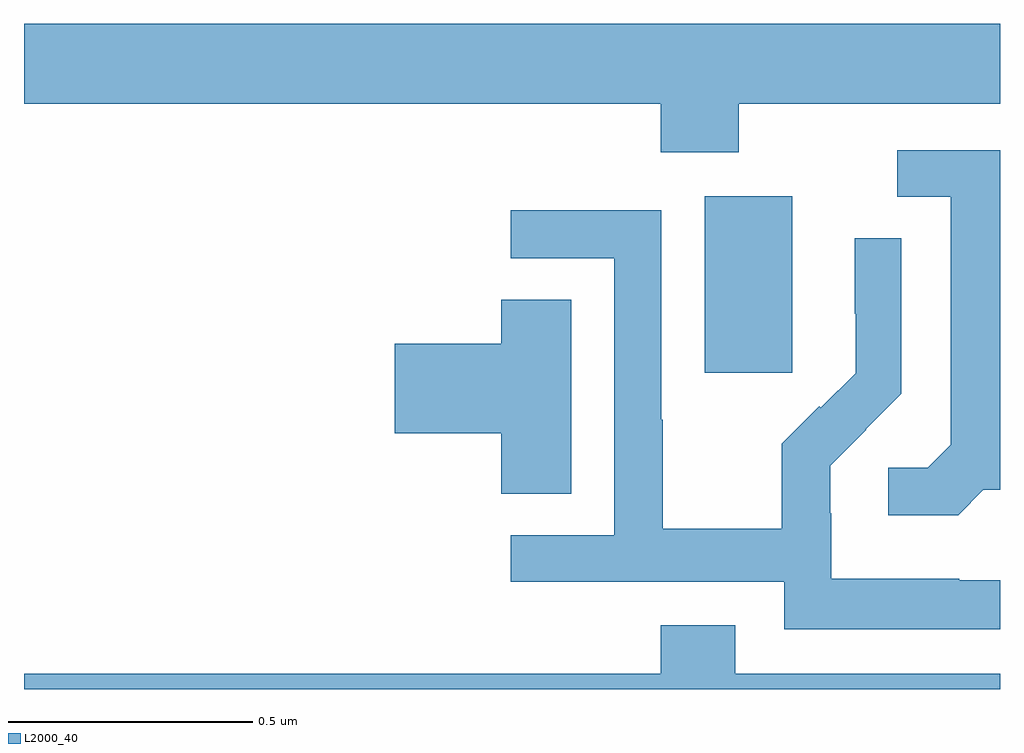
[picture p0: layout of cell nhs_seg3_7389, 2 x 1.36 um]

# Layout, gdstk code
import gdstk
lib = gdstk.Library(unit=1e-6, precision=1e-09)
def R(c, l, rs):  # rectangles x0, y0, x1, y1
    for r in rs: c.add(gdstk.rectangle(r[:2], r[2:], *l))
def P(c, l, *ps):  # polygons
    for p in ps: c.add(gdstk.Polygon(p, *l))
L2000_40 = (2000, 40)

nhs_seg3_7389 = lib.new_cell('nhs_seg3_7389')
R(nhs_seg3_7389, L2000_40, [(204.395,683.049,204.574,683.41)])
P(nhs_seg3_7389, L2000_40, [(204.465,683.6),(205,683.6),(205,683.764),(203,683.764),(203,683.6),(204.305,683.6),(204.305,683.501),(204.465,683.501)],
  [(204.966,682.809),(205,682.809),(205,683.505),(204.789,683.505),(204.789,683.409),(204.899,683.409),(204.899,682.901),(204.852,682.854),(204.771,682.854),(204.771,682.757),(204.914,682.757)],
  [(205,682.623),(204.917,682.623),(204.917,682.627),(204.654,682.627),(204.654,682.761),(204.652,682.761),(204.652,682.858),(204.726,682.932),(204.725,682.933),(204.798,683.006),(204.798,683.324),(204.702,683.324),(204.702,683.17),(204.704,683.17),(204.704,683.048),(204.633,682.977),(204.63,682.98),(204.553,682.903),(204.553,682.729),(204.309,682.729),(204.309,682.952),(204.306,682.952),(204.306,683.382),(203.997,683.382),(203.997,683.283),(204.21,683.283),(204.21,682.716),(203.997,682.716),(203.997,682.62),(204.558,682.62),(204.558,682.523),(205,682.523)],
  [(204.121,683.198),(203.978,683.198),(203.978,683.108),(203.76,683.108),(203.76,682.925),(203.978,682.925),(203.978,682.801),(204.121,682.801)],
  [(205,682.432),(204.457,682.432),(204.457,682.531),(204.305,682.531),(204.305,682.432),(203,682.432),(203,682.4),(205,682.4)])

lib.write_gds('nhs_seg3_7389.gds')
